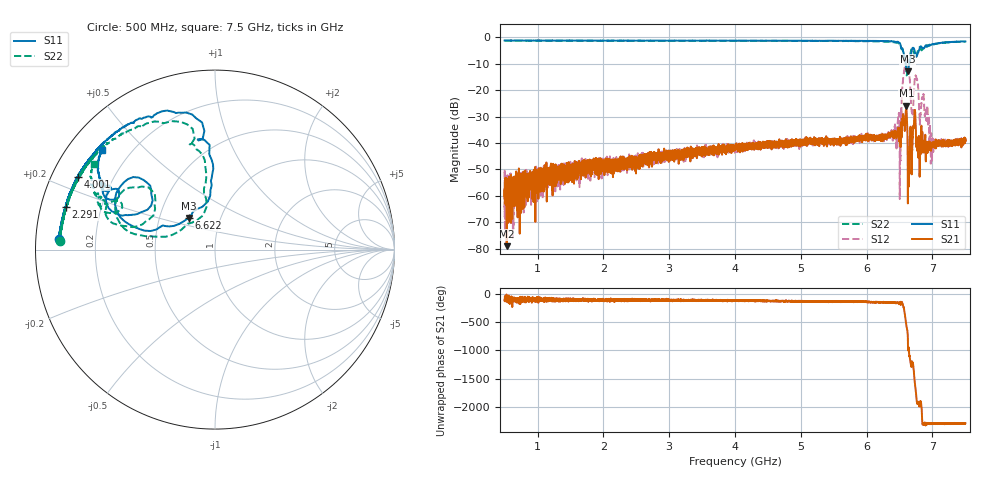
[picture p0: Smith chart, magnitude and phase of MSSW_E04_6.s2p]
!Keysight Technologies,M9374A,MY55442783,A.12.55.05
!Date: Wednesday, May 19, 2021 18:44:55
!Correction: S11(Full 2 Port(1,2))
!S21(Full 2 Port(1,2))
!S12(Full 2 Port(1,2))
!S22(Full 2 Port(1,2))
!S2P File: Measurements: S11, S21, S12, S22:
# Hz S  RI  R 50
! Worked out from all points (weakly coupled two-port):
!   7001 points, 500 MHz to 7.5 GHz, reference 50 ohm
!   highest |S21| = -25.92 dB at 6.603 GHz (marker M1); lowest = -79.1 dB at 532 MHz (marker M2)
!   lowest |S11| = -12.8 dB at 6.622 GHz (marker M3), VSWR 1.59, Z = 35.4 + j13.2 ohm
!   |S11| at or under -10 dB: 6.594 GHz to 6.646 GHz (52.17 MHz wide, 0.788 % of centre)
!   |S22| runs from -14.4 to -1.2 dB; largest |S21 - S12| = 0.34
!   S11 on the Smith chart (normalised r, x): 500 MHz: 0.07, +0.03; 2.291 GHz: 0.07, +0.14; 4.001 GHz: 0.08, +0.25; 6.622 GHz: 0.71, +0.26; 7.5 GHz: 0.10, +0.37
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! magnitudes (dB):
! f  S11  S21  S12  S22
! 500 MHz  -1.2  -61.1  -65.3  -1.2
! 532 MHz  -1.2  -79.1  -66.4  -1.2
! 1.667 GHz  -1.2  -51.2  -50.3  -1.3
! 2.291 GHz  -1.3  -47.2  -47.1  -1.3
! 2.834 GHz  -1.2  -44.4  -46.4  -1.3
! 4 GHz  -1.3  -41.7  -41.7  -1.3
! 4.001 GHz  -1.3  -41.7  -41.8  -1.3
! 5.167 GHz  -1.3  -38.6  -38.9  -1.4
! 6.334 GHz  -1.4  -37.0  -36.8  -1.7
! 6.484 GHz  -1.8  -35.2  -29.8  -2.1
! 6.531 GHz  -4.1  -36.1  -24.7  -4.3
! 6.577 GHz  -7.6  -34.2  -11.5  -8.1
! 6.603 GHz  -12.0  -25.9  -8.7  -13.6
! 6.622 GHz  -12.8  -41.9  -9.6  -13.4
! 6.658 GHz  -9.0  -37.5  -16.6  -7.2
! 6.684 GHz  -5.0  -50.2  -28.0  -4.4
! 6.729 GHz  -5.2  -27.5  -16.4  -7.4
! 6.756 GHz  -7.3  -41.6  -15.4  -7.0
! 6.786 GHz  -5.6  -40.7  -20.1  -4.5
! 6.892 GHz  -3.2  -38.0  -28.3  -3.3
! 7 GHz  -2.6  -40.5  -40.2  -2.7
! 7.5 GHz  -1.5  -39.3  -39.4  -1.6
